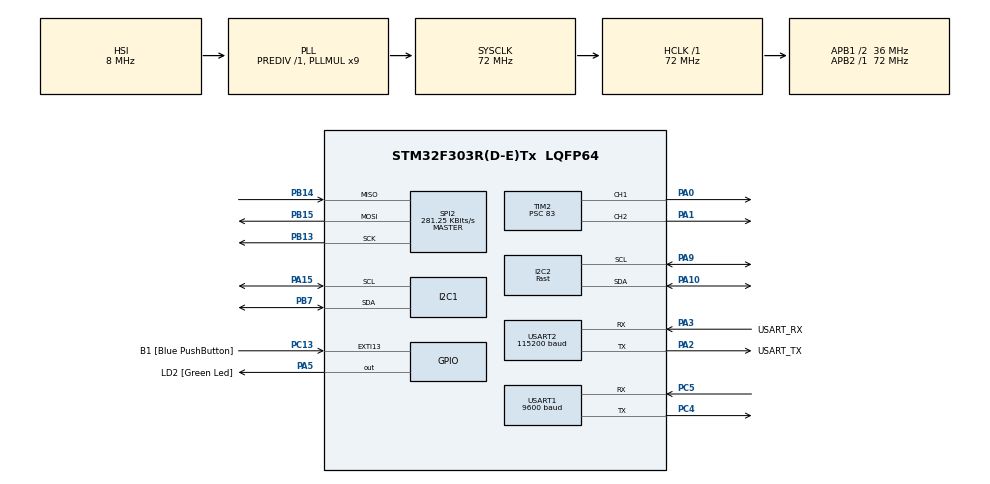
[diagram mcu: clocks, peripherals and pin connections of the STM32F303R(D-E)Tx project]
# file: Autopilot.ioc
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I2C2.I2C_Speed_Mode=I2C_Fast
I2C2.Timing=0x0000020B
Mcu.Family=STM32F3
Mcu.Name=STM32F303R(D-E)Tx
Mcu.Package=LQFP64
NVIC.PriorityGroup=NVIC_PRIORITYGROUP_0
NVIC.USART1_IRQn=true\:0\:0\:false\:false\:true\:true\:true\:true
PA0.Signal=S_TIM2_CH1_ETR
PA1.Signal=S_TIM2_CH2
PA10.Mode=I2C
PA10.Signal=I2C2_SDA
PA13.GPIO_Label=TMS
PA13.Mode=Serial_Wire
PA13.Signal=SYS_JTMS-SWDIO
PA14.GPIO_Label=TCK
PA14.Mode=Serial_Wire
PA14.Signal=SYS_JTCK-SWCLK
PA15.Mode=I2C
PA15.Signal=I2C1_SCL
PA2.GPIO_Label=USART_TX
PA2.GPIO_Mode=GPIO_MODE_AF_PP
PA2.GPIO_PuPd=GPIO_NOPULL
PA2.GPIO_Speed=GPIO_SPEED_FREQ_LOW
PA2.Mode=Asynchronous
PA2.Signal=USART2_TX
PA3.GPIO_Label=USART_RX
PA3.GPIO_Mode=GPIO_MODE_AF_PP
PA3.GPIO_PuPd=GPIO_NOPULL
PA3.GPIO_Speed=GPIO_SPEED_FREQ_LOW
PA3.Mode=Asynchronous
PA3.Signal=USART2_RX
PA5.GPIO_Label=LD2 [Green Led]
PA5.GPIO_Mode=GPIO_MODE_OUTPUT_PP
PA5.GPIO_PuPd=GPIO_NOPULL
PA5.GPIO_Speed=GPIO_SPEED_FREQ_LOW
PA5.Signal=GPIO_Output
PA9.Mode=I2C
PA9.Signal=I2C2_SCL
PB13.Mode=Full_Duplex_Master
PB13.Signal=SPI2_SCK
PB14.Mode=Full_Duplex_Master
PB14.Signal=SPI2_MISO
PB15.Mode=Full_Duplex_Master
PB15.Signal=SPI2_MOSI
PB3.GPIO_Label=SWO
PB3.Signal=SYS_JTDO-TRACESWO
PB7.Mode=I2C
PB7.Signal=I2C1_SDA
PC13.GPIO_Label=B1 [Blue PushButton]
PC13.GPIO_ModeDefaultEXTI=GPIO_MODE_IT_FALLING
PC13.Signal=GPXTI13
PC14-OSC32_IN.Mode=LSE-External-Oscillator
PC14-OSC32_IN.Signal=RCC_OSC32_IN
PC15-OSC32_OUT.Mode=LSE-External-Oscillator
PC15-OSC32_OUT.Signal=RCC_OSC32_OUT
PC4.Mode=Asynchronous
PC4.Signal=USART1_TX
PC5.Mode=Asynchronous
PC5.Signal=USART1_RX
PF0-OSC_IN.Mode=HSE-External-Clock-Source
PF0-OSC_IN.Signal=RCC_OSC_IN
PF1-OSC_OUT.Signal=RCC_OSC_OUT
ProjectManager.HeapSize=0x200
ProjectManager.StackSize=0x400
ProjectManager.TargetToolchain=STM32CubeIDE
RCC.AHBFreq_Value=72000000
RCC.APB1CLKDivider=RCC_HCLK_DIV2
RCC.APB1Freq_Value=36000000
RCC.APB1TimFreq_Value=72000000
RCC.APB2Freq_Value=72000000
RCC.APB2TimFreq_Value=72000000
RCC.CortexFreq_Value=72000000
RCC.HCLKFreq_Value=72000000
RCC.HSE_VALUE=8000000
RCC.HSI_VALUE=8000000
RCC.PLLM=8
RCC.PLLMUL=RCC_PLL_MUL9
RCC.PLLN=336
RCC.PLLP=RCC_PLLP_DIV4
RCC.PLLQ=7
RCC.RCC_PLLsource_Clock_Source_FROM_HSE=RCC_HSE_PREDIV_DIV2
RCC.SYSCLKFreq_VALUE=72000000
RCC.SYSCLKSourceVirtual=RCC_SYSCLKSOURCE_PLLCLK
RCC.USBFreq_Value=72000000
RCC.Usart1ClockSelection=RCC_USART1CLKSOURCE_SYSCLK
SH.S_TIM2_CH1_ETR.0=TIM2_CH1,PWM Generation1 CH1
SH.S_TIM2_CH2.0=TIM2_CH2,PWM Generation2 CH2
SPI2.BaudRatePrescaler=SPI_BAUDRATEPRESCALER_128
SPI2.CalculateBaudRate=281.25 KBits/s
SPI2.DataSize=SPI_DATASIZE_8BIT
SPI2.Direction=SPI_DIRECTION_2LINES
SPI2.Mode=SPI_MODE_MASTER
SPI2.VirtualType=VM_MASTER
TIM16.Period=40-1
TIM16.Prescaler=8400-1
TIM2.AutoReloadPreload=TIM_AUTORELOAD_PRELOAD_ENABLE
TIM2.Channel-PWM\ Generation1\ CH1=TIM_CHANNEL_1
TIM2.Channel-PWM\ Generation2\ CH2=TIM_CHANNEL_2
TIM2.ClockDivision=TIM_CLOCKDIVISION_DIV1
TIM2.Period=17599
TIM2.Prescaler=83
USART1.BaudRate=9600
USART1.Mode=MODE_TX_RX
USART1.VirtualMode-Asynchronous=VM_ASYNC
USART2.BaudRate=115200
USART2.VirtualMode-Asynchronous=VM_ASYNC
VP_TIM16_VS_ClockSourceINT.Mode=Enable_Timer
board=NUCLEO-F303RE

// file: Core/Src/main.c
/* USER CODE BEGIN Header */
/**
  ******************************************************************************
  * @file           : main.c
  * @brief          : Main program body
  ******************************************************************************
  * @attention
  *
  * Copyright (c) 2023 STMicroelectronics.
  * All rights reserved.
  *
  * This software is licensed under terms that can be found in the LICENSE file
  * in the root directory of this software component.
  * If no LICENSE file comes with this software, it is provided AS-IS.
  *
  ******************************************************************************
  */
/* USER CODE END Header */
#include "main.h"

/* USER CODE BEGIN Includes */
#include "bme280.h"
#include "string.h"
#include "stdio.h"
#include "MPU9250.h"
#include "gps.h"
#include "servo.h"

/* USER CODE END Includes */

/* USER CODE BEGIN PD */

#define GPS_GPIO_Port GPIOC
#define GPS_Pin	5
#define STEP_ANGLE 1

/* USER CODE END PD */

I2C_HandleTypeDef hi2c1;
I2C_HandleTypeDef hi2c2;

SPI_HandleTypeDef hspi2;

TIM_HandleTypeDef htim2;
TIM_HandleTypeDef htim16;

UART_HandleTypeDef huart1;
UART_HandleTypeDef huart2;

/* USER CODE BEGIN PV */
servo_config servo1;
motor_config motor;

/* USER CODE END PV */

void SystemClock_Config(void);
static void MX_GPIO_Init(void);
static void MX_USART2_UART_Init(void);
static void MX_I2C1_Init(void);
static void MX_SPI2_Init(void);
static void MX_TIM16_Init(void);
static void MX_USART1_UART_Init(void);
static void MX_I2C2_Init(void);
static void MX_TIM2_Init(void);

/* USER CODE BEGIN 0 */
float Temperature, Pressure, Humidity;

void HAL_UART_RxCpltCallback(UART_HandleTypeDef *huart)
{
	if(huart == &huart1) GPS_UART_CallBack();
}

void uart_control(void){
	char hello[] = "Hello, World!\r\n";
    HAL_UART_Transmit(&huart2, (uint8_t*)hello, strlen(hello), HAL_MAX_DELAY);
}

void send_sensor_values_over_uart(int motor_speed, int steering_angle, float pressure, float temperature, float humidity) {
    char buffer[100];  // Uygun bir boyut seçilmelidir
    int temperature_int = (int)(temperature * 10.0);  // Multiply by 10 to keep one decimal place
    int pressure_int  = (int)(pressure * 10.0);
    int humidity_int = (int)(humidity * 10.0);
    // Integer değerlerini karakter dizisine dönüştür ve uygun formatta birleştir
    sprintf(buffer, "Motor: %d RPM, Steering: %d deg, Pressure: %d hPa, Temp: %dC, Humidity: %d%%\r\n",
            motor_speed, steering_angle, pressure_int, temperature_int, humidity_int);

    // UART üzerinden gönder
    HAL_UART_Transmit(&huart2, (uint8_t*)buffer, strlen(buffer), HAL_MAX_DELAY);
}

/* USER CODE END 0 */

int main(void)
{

  /* MCU Configuration--------------------------------------------------------*/

  /* Reset of all peripherals, Initializes the Flash interface and the Systick. */
  HAL_Init();

  /* Configure the system clock */
  SystemClock_Config();

  /* Initialize all configured peripherals */
  MX_GPIO_Init();
  MX_USART2_UART_Init();
  MX_I2C1_Init();
  MX_SPI2_Init();
  MX_TIM16_Init();
  MX_USART1_UART_Init();
  MX_I2C2_Init();
  MX_TIM2_Init();
  /* USER CODE BEGIN 2 */
  BME280_Config(OSRS_2, OSRS_16, OSRS_1, MODE_NORMAL, T_SB_0p5, IIR_16);
  HAL_GPIO_WritePin(GPS_GPIO_Port, GPS_Pin, GPIO_PIN_SET);
  GPS_Init();
  uart_control();

  init_servo(&servo1, GPIOA, GPIO_PIN_1, &htim2, TIM_CHANNEL_2,50);
  init_motor(&motor, GPIOA, GPIO_PIN_0, &htim2, TIM_CHANNEL_1,180);

  /* USER CODE END 2 */

  /* Infinite loop */
  while (1)
  {

    /* USER CODE BEGIN 3 */
	  int motor1 = 0;  // Örnek: 1000 RPM
	  int steering_angle = 0;  // Örnek: 45 derece
	  BME280_Measure();
	  send_sensor_values_over_uart(motor1, steering_angle, Pressure, Temperature, Humidity);

	  for (int s = 5; s <=110; s++){
		  servo_angle(&servo1 , s);
		  steering_angle = s;
		  send_sensor_values_over_uart(motor1, steering_angle, Pressure, Temperature, Humidity);
		  HAL_Delay(5);

	  }
	  motor_speed(&motor ,50);
	  HAL_Delay(500);
	  for (int i = 50; i <= 70; i++) {
		  // Motor hızı güncellenir
	      motor_speed(&motor, i);
	      motor1 = i;
	      send_sensor_values_over_uart(motor1, steering_angle, Pressure, Temperature, Humidity);

	      HAL_Delay(200); // 100 milisaniye bekleyebilirsiniz
	  }
	  for (int s = 110; s >=5; s--){
	  		  servo_angle(&servo1 , s);
	  		steering_angle = s;
	  		 send_sensor_values_over_uart(motor1, steering_angle, Pressure, Temperature, Humidity);

	  		  HAL_Delay(5);
	  	  }
	  HAL_Delay(500);
	  motor_speed(&motor ,50);
	  HAL_Delay(500);
	  for (int i = 50; i >= 20; i--){
		  motor_speed(&motor, i);
		  motor1 = i;
		  send_sensor_values_over_uart(motor1, steering_angle, Pressure, Temperature, Humidity);

		  HAL_Delay(200);
	  }
	  for (int s = 5; s <=110; s++){
	  		  servo_angle(&servo1 , s);
	  		steering_angle = s;
	  		 send_sensor_values_over_uart(motor1, steering_angle, Pressure, Temperature, Humidity);

	  		  HAL_Delay(5);
	  	  }
	  for (int i = 20; i <= 50; i++){
	  		  motor_speed(&motor, i);
	  		  motor1 = i;
	  		 send_sensor_values_over_uart(motor1, steering_angle, Pressure, Temperature, Humidity);

	  		  HAL_Delay(200);
	  }

//	  Scan_I2c_Devices();

  }
  /* USER CODE END 3 */
}

void SystemClock_Config(void)
{
  RCC_OscInitTypeDef RCC_OscInitStruct = {0};
  RCC_ClkInitTypeDef RCC_ClkInitStruct = {0};
  RCC_PeriphCLKInitTypeDef PeriphClkInit = {0};

  /** Initializes the RCC Oscillators according to the specified parameters
  * in the RCC_OscInitTypeDef structure.
  */
  RCC_OscInitStruct.OscillatorType = RCC_OSCILLATORTYPE_HSI;
  RCC_OscInitStruct.HSIState = RCC_HSI_ON;
  RCC_OscInitStruct.HSICalibrationValue = RCC_HSICALIBRATION_DEFAULT;
  RCC_OscInitStruct.PLL.PLLState = RCC_PLL_ON;
  RCC_OscInitStruct.PLL.PLLSource = RCC_PLLSOURCE_HSI;
  RCC_OscInitStruct.PLL.PLLMUL = RCC_PLL_MUL9;
  RCC_OscInitStruct.PLL.PREDIV = RCC_PREDIV_DIV1;
  if (HAL_RCC_OscConfig(&RCC_OscInitStruct) != HAL_OK)
  {
    Error_Handler();
  }

  /** Initializes the CPU, AHB and APB buses clocks
  */
  RCC_ClkInitStruct.ClockType = RCC_CLOCKTYPE_HCLK|RCC_CLOCKTYPE_SYSCLK
                              |RCC_CLOCKTYPE_PCLK1|RCC_CLOCKTYPE_PCLK2;
  RCC_ClkInitStruct.SYSCLKSource = RCC_SYSCLKSOURCE_PLLCLK;
  RCC_ClkInitStruct.AHBCLKDivider = RCC_SYSCLK_DIV1;
  RCC_ClkInitStruct.APB1CLKDivider = RCC_HCLK_DIV2;
  RCC_ClkInitStruct.APB2CLKDivider = RCC_HCLK_DIV1;

  if (HAL_RCC_ClockConfig(&RCC_ClkInitStruct, FLASH_LATENCY_2) != HAL_OK)
  {
    Error_Handler();
  }
  PeriphClkInit.PeriphClockSelection = RCC_PERIPHCLK_USART1|RCC_PERIPHCLK_USART2
                              |RCC_PERIPHCLK_I2C1|RCC_PERIPHCLK_I2C2
                              |RCC_PERIPHCLK_TIM16|RCC_PERIPHCLK_TIM2;
  PeriphClkInit.Usart1ClockSelection = RCC_USART1CLKSOURCE_SYSCLK;
  PeriphClkInit.Usart2ClockSelection = RCC_USART2CLKSOURCE_PCLK1;
  PeriphClkInit.I2c1ClockSelection = RCC_I2C1CLKSOURCE_HSI;
  PeriphClkInit.I2c2ClockSelection = RCC_I2C2CLKSOURCE_HSI;
  PeriphClkInit.Tim16ClockSelection = RCC_TIM16CLK_HCLK;
  PeriphClkInit.Tim2ClockSelection = RCC_TIM2CLK_HCLK;
  if (HAL_RCCEx_PeriphCLKConfig(&PeriphClkInit) != HAL_OK)
  {
    Error_Handler();
  }
}

static void MX_I2C1_Init(void)
{

  hi2c1.Instance = I2C1;
  hi2c1.Init.Timing = 0x2000090E;
  hi2c1.Init.OwnAddress1 = 0;
  hi2c1.Init.AddressingMode = I2C_ADDRESSINGMODE_7BIT;
  hi2c1.Init.DualAddressMode = I2C_DUALADDRESS_DISABLE;
  hi2c1.Init.OwnAddress2 = 0;
  hi2c1.Init.OwnAddress2Masks = I2C_OA2_NOMASK;
  hi2c1.Init.GeneralCallMode = I2C_GENERALCALL_DISABLE;
  hi2c1.Init.NoStretchMode = I2C_NOSTRETCH_DISABLE;
  if (HAL_I2C_Init(&hi2c1) != HAL_OK)
  {
    Error_Handler();
  }

  /** Configure Analogue filter
  */
  if (HAL_I2CEx_ConfigAnalogFilter(&hi2c1, I2C_ANALOGFILTER_ENABLE) != HAL_OK)
  {
    Error_Handler();
  }

  /** Configure Digital filter
  */
  if (HAL_I2CEx_ConfigDigitalFilter(&hi2c1, 0) != HAL_OK)
  {
    Error_Handler();
  }

}

static void MX_I2C2_Init(void)
{

  hi2c2.Instance = I2C2;
  hi2c2.Init.Timing = 0x0000020B;
  hi2c2.Init.OwnAddress1 = 0;
  hi2c2.Init.AddressingMode = I2C_ADDRESSINGMODE_7BIT;
  hi2c2.Init.DualAddressMode = I2C_DUALADDRESS_DISABLE;
  hi2c2.Init.OwnAddress2 = 0;
  hi2c2.Init.OwnAddress2Masks = I2C_OA2_NOMASK;
  hi2c2.Init.GeneralCallMode = I2C_GENERALCALL_DISABLE;
  hi2c2.Init.NoStretchMode = I2C_NOSTRETCH_DISABLE;
  if (HAL_I2C_Init(&hi2c2) != HAL_OK)
  {
    Error_Handler();
  }

  /** Configure Analogue filter
  */
  if (HAL_I2CEx_ConfigAnalogFilter(&hi2c2, I2C_ANALOGFILTER_ENABLE) != HAL_OK)
  {
    Error_Handler();
  }

  /** Configure Digital filter
  */
  if (HAL_I2CEx_ConfigDigitalFilter(&hi2c2, 0) != HAL_OK)
  {
    Error_Handler();
  }

}

static void MX_SPI2_Init(void)
{

  /* SPI2 parameter configuration*/
  hspi2.Instance = SPI2;
  hspi2.Init.Mode = SPI_MODE_MASTER;
  hspi2.Init.Direction = SPI_DIRECTION_2LINES;
  hspi2.Init.DataSize = SPI_DATASIZE_8BIT;
  hspi2.Init.CLKPolarity = SPI_POLARITY_LOW;
  hspi2.Init.CLKPhase = SPI_PHASE_1EDGE;
  hspi2.Init.NSS = SPI_NSS_SOFT;
  hspi2.Init.BaudRatePrescaler = SPI_BAUDRATEPRESCALER_128;
  hspi2.Init.FirstBit = SPI_FIRSTBIT_MSB;
  hspi2.Init.TIMode = SPI_TIMODE_DISABLE;
  hspi2.Init.CRCCalculation = SPI_CRCCALCULATION_DISABLE;
  hspi2.Init.CRCPolynomial = 7;
  hspi2.Init.CRCLength = SPI_CRC_LENGTH_DATASIZE;
  hspi2.Init.NSSPMode = SPI_NSS_PULSE_ENABLE;
  if (HAL_SPI_Init(&hspi2) != HAL_OK)
  {
    Error_Handler();
  }

}

static void MX_TIM2_Init(void)
{

  TIM_MasterConfigTypeDef sMasterConfig = {0};
  TIM_OC_InitTypeDef sConfigOC = {0};

  htim2.Instance = TIM2;
  htim2.Init.Prescaler = 83;
  htim2.Init.CounterMode = TIM_COUNTERMODE_UP;
  htim2.Init.Period = 17599;
  htim2.Init.ClockDivision = TIM_CLOCKDIVISION_DIV1;
  htim2.Init.AutoReloadPreload = TIM_AUTORELOAD_PRELOAD_ENABLE;
  if (HAL_TIM_PWM_Init(&htim2) != HAL_OK)
  {
    Error_Handler();
  }
  sMasterConfig.MasterOutputTrigger = TIM_TRGO_RESET;
  sMasterConfig.MasterSlaveMode = TIM_MASTERSLAVEMODE_DISABLE;
  if (HAL_TIMEx_MasterConfigSynchronization(&htim2, &sMasterConfig) != HAL_OK)
  {
    Error_Handler();
  }
  sConfigOC.OCMode = TIM_OCMODE_PWM1;
  sConfigOC.Pulse = 0;
  sConfigOC.OCPolarity = TIM_OCPOLARITY_HIGH;
  sConfigOC.OCFastMode = TIM_OCFAST_DISABLE;
  if (HAL_TIM_PWM_ConfigChannel(&htim2, &sConfigOC, TIM_CHANNEL_1) != HAL_OK)
  {
    Error_Handler();
  }
  if (HAL_TIM_PWM_ConfigChannel(&htim2, &sConfigOC, TIM_CHANNEL_2) != HAL_OK)
  {
    Error_Handler();
  }
  HAL_TIM_MspPostInit(&htim2);

}

static void MX_TIM16_Init(void)
{

  htim16.Instance = TIM16;
  htim16.Init.Prescaler = 8400-1;
  htim16.Init.CounterMode = TIM_COUNTERMODE_UP;
  htim16.Init.Period = 40-1;
  htim16.Init.ClockDivision = TIM_CLOCKDIVISION_DIV1;
  htim16.Init.RepetitionCounter = 0;
  htim16.Init.AutoReloadPreload = TIM_AUTORELOAD_PRELOAD_DISABLE;
  if (HAL_TIM_Base_Init(&htim16) != HAL_OK)
  {
    Error_Handler();
  }

}

static void MX_USART1_UART_Init(void)
{

  huart1.Instance = USART1;
  huart1.Init.BaudRate = 9600;
  huart1.Init.WordLength = UART_WORDLENGTH_8B;
  huart1.Init.StopBits = UART_STOPBITS_1;
  huart1.Init.Parity = UART_PARITY_NONE;
  huart1.Init.Mode = UART_MODE_TX_RX;
  huart1.Init.HwFlowCtl = UART_HWCONTROL_NONE;
  huart1.Init.OverSampling = UART_OVERSAMPLING_16;
  huart1.Init.OneBitSampling = UART_ONE_BIT_SAMPLE_DISABLE;
  huart1.AdvancedInit.AdvFeatureInit = UART_ADVFEATURE_NO_INIT;
  if (HAL_UART_Init(&huart1) != HAL_OK)
  {
    Error_Handler();
  }

}

static void MX_USART2_UART_Init(void)
{

  huart2.Instance = USART2;
  huart2.Init.BaudRate = 115200;
  huart2.Init.WordLength = UART_WORDLENGTH_8B;
  huart2.Init.StopBits = UART_STOPBITS_1;
  huart2.Init.Parity = UART_PARITY_NONE;
  huart2.Init.Mode = UART_MODE_TX_RX;
  huart2.Init.HwFlowCtl = UART_HWCONTROL_NONE;
  huart2.Init.OverSampling = UART_OVERSAMPLING_16;
  huart2.Init.OneBitSampling = UART_ONE_BIT_SAMPLE_DISABLE;
  huart2.AdvancedInit.AdvFeatureInit = UART_ADVFEATURE_NO_INIT;
  if (HAL_UART_Init(&huart2) != HAL_OK)
  {
    Error_Handler();
  }

}

static void MX_GPIO_Init(void)
{
  GPIO_InitTypeDef GPIO_InitStruct = {0};

  /* GPIO Ports Clock Enable */
  __HAL_RCC_GPIOC_CLK_ENABLE();
  __HAL_RCC_GPIOF_CLK_ENABLE();
  __HAL_RCC_GPIOA_CLK_ENABLE();
  __HAL_RCC_GPIOB_CLK_ENABLE();

  /*Configure GPIO pin Output Level */
  HAL_GPIO_WritePin(LD2_GPIO_Port, LD2_Pin, GPIO_PIN_RESET);

  /*Configure GPIO pin : B1_Pin */
  GPIO_InitStruct.Pin = B1_Pin;
  GPIO_InitStruct.Mode = GPIO_MODE_IT_FALLING;
  GPIO_InitStruct.Pull = GPIO_NOPULL;
  HAL_GPIO_Init(B1_GPIO_Port, &GPIO_InitStruct);

  /*Configure GPIO pin : LD2_Pin */
  GPIO_InitStruct.Pin = LD2_Pin;
  GPIO_InitStruct.Mode = GPIO_MODE_OUTPUT_PP;
  GPIO_InitStruct.Pull = GPIO_NOPULL;
  GPIO_InitStruct.Speed = GPIO_SPEED_FREQ_LOW;
  HAL_GPIO_Init(LD2_GPIO_Port, &GPIO_InitStruct);

}

void Error_Handler(void)
{
  __disable_irq();
  while (1)
  {
  }
}
